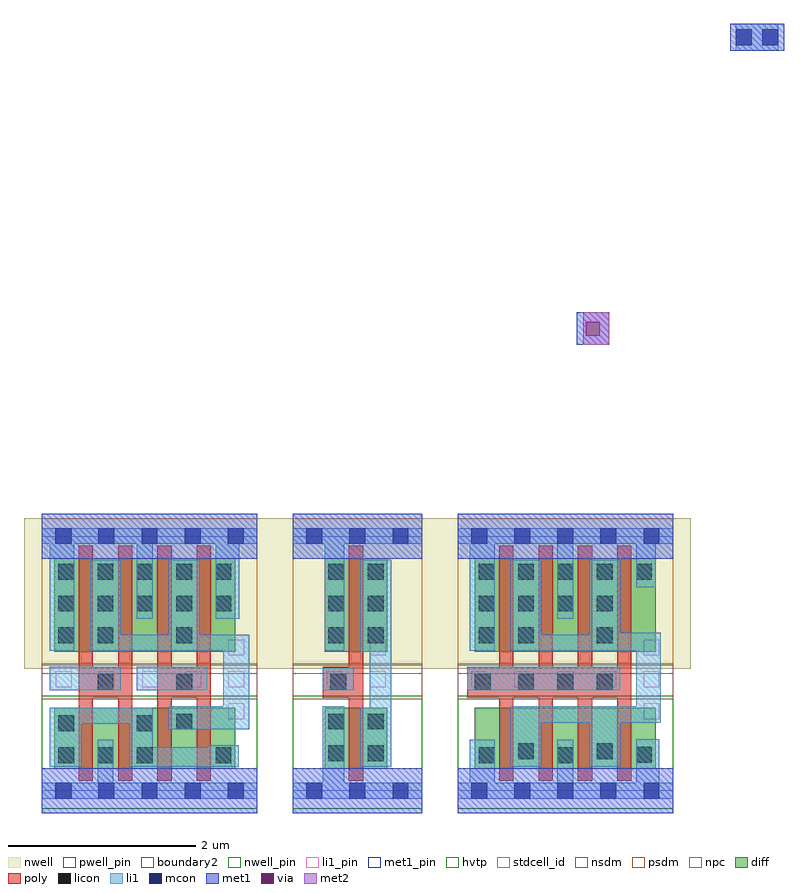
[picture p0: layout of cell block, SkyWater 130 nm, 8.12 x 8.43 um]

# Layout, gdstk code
import gdstk
lib = gdstk.Library(unit=1e-6, precision=1e-09)
def R(c, l, rs):  # rectangles x0, y0, x1, y1
    for r in rs: c.add(gdstk.rectangle(r[:2], r[2:], *l))
def A(c, l, x, y, w, h, nx, ny, dx, dy):  # array of equal rectangles
    R(c, l, [(x+i*dx, y+j*dy, x+i*dx+w, y+j*dy+h) for i in range(nx) for j in range(ny)])
def P(c, l, *ps):  # polygons
    for p in ps: c.add(gdstk.Polygon(p, *l))
nwell_pin = (64, 16)
nwell = (64, 20)
diff = (65, 20)
poly = (66, 20)
licon = (66, 44)
li1_pin = (67, 16)
li1 = (67, 20)
mcon = (67, 44)
met1_pin = (68, 16)
met1 = (68, 20)
via = (68, 44)
met2 = (69, 20)
hvtp = (78, 44)
stdcell_id = (81, 4)
nsdm = (93, 44)
psdm = (94, 20)
npc = (95, 20)
pwell_pin = (122, 16)
boundary2 = (236, 0)

sky130_fd_sc_hd__nand2_2 = lib.new_cell('sky130_fd_sc_hd__nand2_2')
R(sky130_fd_sc_hd__nand2_2, nwell_pin, [(0.15,2.635,0.32,2.805)])
R(sky130_fd_sc_hd__nand2_2, nwell, [(-0.19,1.305,2.49,2.91)])
R(sky130_fd_sc_hd__nand2_2, diff, [(0.135,0.235,2.065,0.885), (0.135,1.485,2.065,2.485)])
P(sky130_fd_sc_hd__nand2_2, poly, [(1.235,0.105),(1.235,2.615),(1.385,2.615),(1.385,1.325),(1.655,1.325),(1.655,2.615),(1.805,2.615),(1.805,0.105),(1.655,0.105),(1.655,0.995),(1.385,0.995),(1.385,0.105)],
  [(0.395,0.105),(0.395,2.615),(0.545,2.615),(0.545,1.325),(0.815,1.325),(0.815,2.615),(0.965,2.615),(0.965,0.105),(0.815,0.105),(0.815,0.995),(0.545,0.995),(0.545,0.105)])
A(sky130_fd_sc_hd__nand2_2, licon, 0.175, 0.295, 0.17, 0.17, 3, 1, 0.42, 0)
A(sky130_fd_sc_hd__nand2_2, licon, 0.175, 1.915, 0.17, 0.17, 5, 2, 0.42, 0.34)
R(sky130_fd_sc_hd__nand2_2, licon, [(1.855,0.295,2.025,0.465), (0.175,0.635,0.345,0.805), (1.015,0.635,1.185,0.805), (1.435,0.655,1.605,0.825), (0.595,1.075,0.765,1.245), (1.435,1.075,1.605,1.245), (0.175,1.575,0.345,1.745), (0.595,1.575,0.765,1.745), (1.435,1.575,1.605,1.745)])
A(sky130_fd_sc_hd__nand2_2, li1_pin, 0.15, 1.105, 0.17, 0.17, 5, 1, 0.46, 0)
R(sky130_fd_sc_hd__nand2_2, li1_pin, [(1.99,0.765,2.16,0.935), (1.99,1.445,2.16,1.615)])
R(sky130_fd_sc_hd__nand2_2, li1, [(0.085,1.075,0.845,1.325), (1.015,1.075,1.765,1.325)])
P(sky130_fd_sc_hd__nand2_2, li1, [(0,-0.085),(0,0.085),(0.595,0.085),(0.595,0.545),(0.765,0.545),(0.765,0.085),(2.3,0.085),(2.3,-0.085)],
  [(0.085,1.495),(0.085,2.635),(0,2.635),(0,2.805),(2.3,2.805),(2.3,2.635),(2.11,2.635),(2.11,1.835),(1.855,1.835),(1.855,2.635),(1.185,2.635),(1.185,1.835),(1.015,1.835),(1.015,2.635),(0.345,2.635),(0.345,1.495)],
  [(0.085,0.255),(0.085,0.885),(1.185,0.885),(1.185,0.465),(1.775,0.465),(1.775,0.485),(2.105,0.485),(2.105,0.255),(0.935,0.255),(0.935,0.715),(0.425,0.715),(0.425,0.255)],
  [(1.355,0.655),(1.355,0.905),(1.935,0.905),(1.935,1.495),(0.515,1.495),(0.515,2.465),(0.845,2.465),(0.845,1.665),(1.355,1.665),(1.355,2.465),(1.685,2.465),(1.685,1.665),(2.215,1.665),(2.215,0.655)])
A(sky130_fd_sc_hd__nand2_2, mcon, 0.145, -0.085, 0.17, 0.17, 5, 2, 0.46, 2.72)
R(sky130_fd_sc_hd__nand2_2, met1_pin, [(0.15,-0.085,0.32,0.085), (0.15,2.635,0.32,2.805)])
R(sky130_fd_sc_hd__nand2_2, hvtp, [(0,1.25,2.3,2.72)])
R(sky130_fd_sc_hd__nand2_2, stdcell_id, [(0,0,2.3,2.72)])
R(sky130_fd_sc_hd__nand2_2, nsdm, [(0,-0.19,2.3,1.015)])
R(sky130_fd_sc_hd__nand2_2, psdm, [(0,1.355,2.3,2.91)])
R(sky130_fd_sc_hd__nand2_2, npc, [(0,0.975,2.3,1.345)])
R(sky130_fd_sc_hd__nand2_2, pwell_pin, [(0.15,-0.085,0.32,0.085)])
R(sky130_fd_sc_hd__nand2_2, boundary2, [(0,0,2.3,2.72)])
sky130_fd_sc_hd__nand2_2.add(gdstk.FlexPath([(0,2.72),(2.3,2.72)], 0.48, ends="flush", simple_path=True, layer=68, datatype=20))  # met1
sky130_fd_sc_hd__nand2_2.add(gdstk.FlexPath([(0,0),(2.3,0)], 0.48, ends="flush", simple_path=True, layer=68, datatype=20))  # met1
sky130_fd_sc_hd__nand2_2.add(gdstk.Label('Y', (2.075,0.85), layer=67, texttype=5))
sky130_fd_sc_hd__nand2_2.add(gdstk.Label('Y', (2.075,1.19), layer=67, texttype=5))
sky130_fd_sc_hd__nand2_2.add(gdstk.Label('Y', (2.075,1.53), layer=67, texttype=5))
sky130_fd_sc_hd__nand2_2.add(gdstk.Label('A', (1.615,1.19), layer=67, texttype=5))
sky130_fd_sc_hd__nand2_2.add(gdstk.Label('B', (0.695,1.19), layer=67, texttype=5))
sky130_fd_sc_hd__nand2_2.add(gdstk.Label('VPB', (0.23,2.72), layer=64, texttype=5))
sky130_fd_sc_hd__nand2_2.add(gdstk.Label('VNB', (0.23,0), layer=64, texttype=59))
sky130_fd_sc_hd__nand2_2.add(gdstk.Label('VGND', (0.23,0), layer=68, texttype=5))
sky130_fd_sc_hd__nand2_2.add(gdstk.Label('VPWR', (0.23,2.72), layer=68, texttype=5))
sky130_fd_sc_hd__nand2_2.add(gdstk.Label('nand2_2', (0,0), layer=83, texttype=44))

sky130_fd_sc_hd__inv_1 = lib.new_cell('sky130_fd_sc_hd__inv_1')
R(sky130_fd_sc_hd__inv_1, nwell_pin, [(0.145,2.635,0.315,2.805), (0.145,2.635,0.315,2.805)])
R(sky130_fd_sc_hd__inv_1, nwell, [(-0.19,1.305,1.57,2.91)])
R(sky130_fd_sc_hd__inv_1, diff, [(0.34,0.235,1.01,0.885), (0.34,1.485,1.01,2.485)])
P(sky130_fd_sc_hd__inv_1, poly, [(0.6,0.105),(0.6,0.995),(0.32,0.995),(0.32,1.325),(0.6,1.325),(0.6,2.615),(0.75,2.615),(0.75,0.105)])
A(sky130_fd_sc_hd__inv_1, licon, 0.38, 1.575, 0.17, 0.17, 1, 3, 0, 0.34)
A(sky130_fd_sc_hd__inv_1, licon, 0.8, 1.575, 0.17, 0.17, 1, 3, 0, 0.34)
R(sky130_fd_sc_hd__inv_1, licon, [(0.38,0.315,0.55,0.485), (0.8,0.315,0.97,0.485), (0.38,0.655,0.55,0.825), (0.8,0.655,0.97,0.825), (0.4,1.075,0.57,1.245)])
R(sky130_fd_sc_hd__inv_1, li1_pin, [(0.36,1.105,0.53,1.275), (0.82,1.105,0.99,1.275), (0.82,1.445,0.99,1.615)])
R(sky130_fd_sc_hd__inv_1, li1, [(0,-0.085,1.38,0.085), (0.32,0.005,0.55,0.905), (0.32,1.075,0.65,1.315), (0.34,1.495,0.55,2.675), (0,2.635,1.38,2.805)])
P(sky130_fd_sc_hd__inv_1, li1, [(0.72,0.255),(0.72,0.885),(0.82,0.885),(0.82,1.485),(0.72,1.485),(0.72,2.465),(1.05,2.465),(1.05,0.255)])
A(sky130_fd_sc_hd__inv_1, mcon, 0.145, -0.085, 0.17, 0.17, 3, 2, 0.46, 2.72)
R(sky130_fd_sc_hd__inv_1, met1_pin, [(0.145,-0.085,0.315,0.085), (0.145,-0.085,0.315,0.085), (0.145,2.635,0.315,2.805), (0.145,2.635,0.315,2.805)])
R(sky130_fd_sc_hd__inv_1, hvtp, [(0,1.25,1.38,2.72)])
R(sky130_fd_sc_hd__inv_1, stdcell_id, [(0,0,1.38,2.72)])
R(sky130_fd_sc_hd__inv_1, nsdm, [(0,-0.19,1.38,1.015)])
R(sky130_fd_sc_hd__inv_1, psdm, [(0,1.355,1.38,2.91)])
R(sky130_fd_sc_hd__inv_1, npc, [(0,0.975,1.38,1.345)])
R(sky130_fd_sc_hd__inv_1, pwell_pin, [(0.145,-0.085,0.315,0.085), (0.145,-0.085,0.315,0.085)])
R(sky130_fd_sc_hd__inv_1, boundary2, [(0,0,1.38,2.72)])
sky130_fd_sc_hd__inv_1.add(gdstk.FlexPath([(0,2.72),(1.38,2.72)], 0.48, ends="flush", simple_path=True, layer=68, datatype=20))  # met1
sky130_fd_sc_hd__inv_1.add(gdstk.FlexPath([(0,0),(1.38,0)], 0.48, ends="flush", simple_path=True, layer=68, datatype=20))  # met1
sky130_fd_sc_hd__inv_1.add(gdstk.Label('Y', (0.905,1.53), layer=67, texttype=5))
sky130_fd_sc_hd__inv_1.add(gdstk.Label('Y', (0.905,1.19), layer=67, texttype=5))
sky130_fd_sc_hd__inv_1.add(gdstk.Label('A', (0.445,1.19), layer=67, texttype=5))
sky130_fd_sc_hd__inv_1.add(gdstk.Label('VPB', (0.23,2.72), layer=64, texttype=5))
sky130_fd_sc_hd__inv_1.add(gdstk.Label('VNB', (0.23,0), layer=64, texttype=59))
sky130_fd_sc_hd__inv_1.add(gdstk.Label('VGND', (0.23,0), layer=68, texttype=5))
sky130_fd_sc_hd__inv_1.add(gdstk.Label('VPWR', (0.23,2.72), layer=68, texttype=5))
sky130_fd_sc_hd__inv_1.add(gdstk.Label('inv_1', (0,0), layer=83, texttype=44))

sky130_fd_sc_hd__inv_4 = lib.new_cell('sky130_fd_sc_hd__inv_4')
R(sky130_fd_sc_hd__inv_4, nwell_pin, [(0.145,2.635,0.315,2.805)])
R(sky130_fd_sc_hd__inv_4, nwell, [(-0.19,1.305,2.49,2.91)])
R(sky130_fd_sc_hd__inv_4, diff, [(0.185,0.235,2.115,0.885), (0.185,1.485,2.115,2.485)])
P(sky130_fd_sc_hd__inv_4, poly, [(0.445,0.105),(0.445,0.995),(0.105,0.995),(0.105,1.325),(0.445,1.325),(0.445,2.615),(0.595,2.615),(0.595,1.325),(0.865,1.325),(0.865,2.615),(1.015,2.615),(1.015,1.325),(1.285,1.325),(1.285,2.615),(1.435,2.615),(1.435,1.325),(1.705,1.325),(1.705,2.615),(1.855,2.615),(1.855,0.105),(1.705,0.105),(1.705,0.995),(1.435,0.995),(1.435,0.105),(1.285,0.105),(1.285,0.995),(1.015,0.995),(1.015,0.105),(0.865,0.105),(0.865,0.995),(0.595,0.995),(0.595,0.105)])
A(sky130_fd_sc_hd__inv_4, licon, 0.645, 1.075, 0.17, 0.17, 3, 1, 0.42, 0)
A(sky130_fd_sc_hd__inv_4, licon, 0.225, 1.915, 0.17, 0.17, 4, 1, 0.42, 0)
A(sky130_fd_sc_hd__inv_4, licon, 0.225, 2.255, 0.17, 0.17, 5, 1, 0.42, 0)
R(sky130_fd_sc_hd__inv_4, licon, [(0.225,0.295,0.395,0.465), (1.065,0.295,1.235,0.465), (1.905,0.3,2.075,0.47), (0.645,0.335,0.815,0.505), (1.485,0.335,1.655,0.505), (0.185,1.075,0.355,1.245), (0.225,1.575,0.395,1.745), (0.645,1.575,0.815,1.745), (1.485,1.575,1.655,1.745)])
A(sky130_fd_sc_hd__inv_4, li1_pin, 0.145, 1.105, 0.17, 0.17, 5, 1, 0.46, 0)
R(sky130_fd_sc_hd__inv_4, li1_pin, [(1.985,0.765,2.155,0.935), (1.985,1.445,2.155,1.615)])
R(sky130_fd_sc_hd__inv_4, li1, [(0.105,1.075,1.735,1.325)])
P(sky130_fd_sc_hd__inv_4, li1, [(0,-0.085),(0,0.085),(0.13,0.085),(0.13,0.545),(0.395,0.545),(0.395,0.085),(1.065,0.085),(1.065,0.545),(1.235,0.545),(1.235,0.085),(1.905,0.085),(1.905,0.55),(2.155,0.55),(2.155,0.085),(2.3,0.085),(2.3,-0.085)],
  [(0.13,1.495),(0.13,2.635),(0,2.635),(0,2.805),(2.3,2.805),(2.3,2.635),(2.115,2.635),(2.115,2.175),(1.905,2.175),(1.905,2.635),(1.235,2.635),(1.235,1.835),(1.065,1.835),(1.065,2.635),(0.395,2.635),(0.395,1.495)],
  [(0.565,0.255),(0.565,0.905),(1.905,0.905),(1.905,1.495),(0.565,1.495),(0.565,2.465),(0.895,2.465),(0.895,1.665),(1.405,1.665),(1.405,2.465),(1.735,2.465),(1.735,1.685),(2.17,1.685),(2.17,0.725),(1.735,0.725),(1.735,0.255),(1.405,0.255),(1.405,0.725),(0.895,0.725),(0.895,0.255)])
A(sky130_fd_sc_hd__inv_4, mcon, 0.145, -0.085, 0.17, 0.17, 5, 2, 0.46, 2.72)
R(sky130_fd_sc_hd__inv_4, met1_pin, [(0.145,-0.085,0.315,0.085), (0.145,2.635,0.315,2.805)])
R(sky130_fd_sc_hd__inv_4, hvtp, [(0,1.25,2.3,2.72)])
R(sky130_fd_sc_hd__inv_4, stdcell_id, [(0,0,2.3,2.72)])
R(sky130_fd_sc_hd__inv_4, nsdm, [(0,-0.19,2.3,1.015)])
R(sky130_fd_sc_hd__inv_4, psdm, [(0,1.355,2.3,2.91)])
R(sky130_fd_sc_hd__inv_4, npc, [(0,0.975,2.3,1.345)])
R(sky130_fd_sc_hd__inv_4, pwell_pin, [(0.145,-0.085,0.315,0.085)])
R(sky130_fd_sc_hd__inv_4, boundary2, [(0,0,2.3,2.72)])
sky130_fd_sc_hd__inv_4.add(gdstk.FlexPath([(0,2.72),(2.3,2.72)], 0.48, ends="flush", simple_path=True, layer=68, datatype=20))  # met1
sky130_fd_sc_hd__inv_4.add(gdstk.FlexPath([(0,0),(2.3,0)], 0.48, ends="flush", simple_path=True, layer=68, datatype=20))  # met1
sky130_fd_sc_hd__inv_4.add(gdstk.Label('Y', (2.07,0.85), layer=67, texttype=5))
sky130_fd_sc_hd__inv_4.add(gdstk.Label('Y', (2.07,1.19), layer=67, texttype=5))
sky130_fd_sc_hd__inv_4.add(gdstk.Label('Y', (2.07,1.53), layer=67, texttype=5))
sky130_fd_sc_hd__inv_4.add(gdstk.Label('A', (0.23,1.19), layer=67, texttype=5))
sky130_fd_sc_hd__inv_4.add(gdstk.Label('A', (0.69,1.19), layer=67, texttype=5))
sky130_fd_sc_hd__inv_4.add(gdstk.Label('A', (1.15,1.19), layer=67, texttype=5))
sky130_fd_sc_hd__inv_4.add(gdstk.Label('A', (1.61,1.19), layer=67, texttype=5))
sky130_fd_sc_hd__inv_4.add(gdstk.Label('VPB', (0.23,2.72), layer=64, texttype=5))
sky130_fd_sc_hd__inv_4.add(gdstk.Label('VNB', (0.23,0), layer=64, texttype=59))
sky130_fd_sc_hd__inv_4.add(gdstk.Label('VPWR', (0.23,2.72), layer=68, texttype=5))
sky130_fd_sc_hd__inv_4.add(gdstk.Label('VGND', (0.23,0), layer=68, texttype=5))
sky130_fd_sc_hd__inv_4.add(gdstk.Label('inv_4', (0,0), layer=83, texttype=44))

block = lib.new_cell('block')
R(block, li1, [(7.41,7.9,7.865,8.19)])
R(block, mcon, [(7.41,7.96,7.58,8.13), (7.695,7.96,7.865,8.13)])
R(block, met1, [(5.71,4.76,6.06,5.11), (7.35,7.9,7.925,8.19)])
R(block, via, [(5.81,4.86,5.96,5.01)])
R(block, met2, [(5.78,4.76,6.06,5.11)])
block.add(gdstk.Reference(sky130_fd_sc_hd__nand2_2, (0,0)))
block.add(gdstk.Reference(sky130_fd_sc_hd__inv_1, (2.68,0)))
block.add(gdstk.Reference(sky130_fd_sc_hd__inv_4, (4.44,0)))

lib.write_gds('block.gds')
